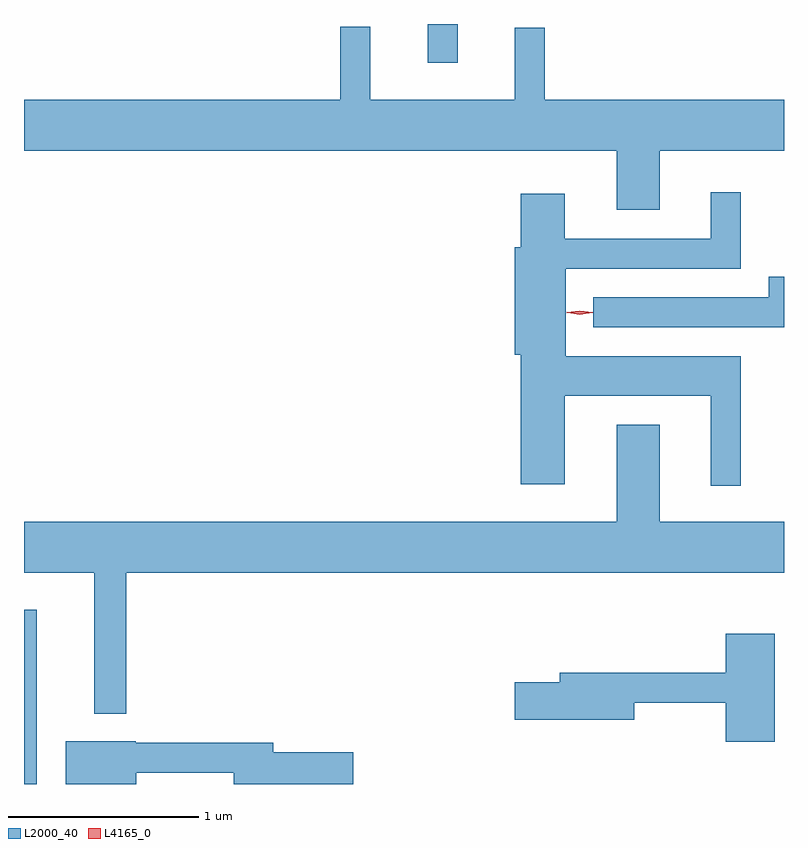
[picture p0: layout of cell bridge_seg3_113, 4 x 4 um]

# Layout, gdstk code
import gdstk
lib = gdstk.Library(unit=1e-6, precision=1e-09)
def R(c, l, rs):  # rectangles x0, y0, x1, y1
    for r in rs: c.add(gdstk.rectangle(r[:2], r[2:], *l))
def P(c, l, *ps):  # polygons
    for p in ps: c.add(gdstk.Polygon(p, *l))
L2000_40 = (2000, 40)
L4165_0 = (4165, 0)

bridge_seg3_113 = lib.new_cell('bridge_seg3_113')
R(bridge_seg3_113, L2000_40, [(1028.902,1220.363,1028.969,1221.279), (1031.026,1224.158,1031.184,1224.363)])
P(bridge_seg3_113, L2000_40, [(1032.249,1223.696),(1032.902,1223.696),(1032.902,1223.964),(1031.644,1223.964),(1031.644,1224.343),(1031.486,1224.343),(1031.486,1223.964),(1030.724,1223.964),(1030.724,1224.348),(1030.566,1224.348),(1030.566,1223.964),(1028.902,1223.964),(1028.902,1223.696),(1032.021,1223.696),(1032.021,1223.386),(1032.249,1223.386)],
  [(1032.674,1222.614),(1031.754,1222.614),(1031.754,1223.076),(1032.674,1223.076),(1032.674,1223.478),(1032.516,1223.478),(1032.516,1223.234),(1031.749,1223.234),(1031.749,1223.469),(1031.516,1223.469),(1031.516,1223.189),(1031.486,1223.189),(1031.486,1222.621),(1031.516,1222.621),(1031.516,1221.941),(1031.749,1221.941),(1031.749,1222.406),(1032.516,1222.406),(1032.516,1221.933),(1032.674,1221.933)],
  [(1032.902,1223.034),(1032.821,1223.034),(1032.821,1222.924),(1031.898,1222.924),(1031.898,1222.766),(1032.902,1222.766)],
  [(1029.439,1221.476),(1032.902,1221.476),(1032.902,1221.744),(1032.249,1221.744),(1032.249,1222.254),(1032.021,1222.254),(1032.021,1221.744),(1028.902,1221.744),(1028.902,1221.476),(1029.271,1221.476),(1029.271,1220.733),(1029.439,1220.733)],
  [(1032.854,1221.154),(1032.596,1221.154),(1032.596,1220.949),(1031.721,1220.949),(1031.721,1220.899),(1031.486,1220.899),(1031.486,1220.701),(1032.114,1220.701),(1032.114,1220.791),(1032.596,1220.791),(1032.596,1220.586),(1032.854,1220.586)],
  [(1029.494,1220.421),(1030.006,1220.421),(1030.006,1220.363),(1030.634,1220.363),(1030.634,1220.529),(1030.214,1220.529),(1030.214,1220.579),(1029.49,1220.579),(1029.49,1220.589),(1029.121,1220.589),(1029.121,1220.363),(1029.494,1220.363)])
P(bridge_seg3_113, L4165_0, [(1031.827,1222.835),(1031.759,1222.844),(1031.758,1222.845),(1031.759,1222.846),(1031.827,1222.855),(1031.896,1222.846),(1031.896,1222.845),(1031.896,1222.844)],
  [(1031.828,1222.833),(1031.763,1222.842),(1031.763,1222.843),(1031.763,1222.843),(1031.828,1222.853),(1031.892,1222.843),(1031.893,1222.843),(1031.892,1222.842)])

lib.write_gds('bridge_seg3_113.gds')
